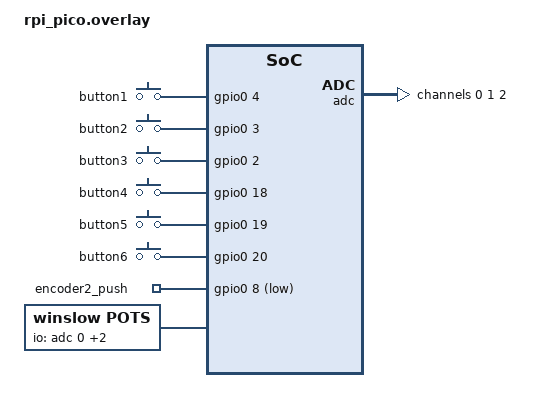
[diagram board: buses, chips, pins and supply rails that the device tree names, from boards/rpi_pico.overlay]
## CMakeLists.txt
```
# SPDX-License-Identifier: Apache-2.0
cmake_minimum_required(VERSION 3.20.0)

# Console/logs over the USB port (/dev/ttyACM0 on the host), since UART0 on
# GP0/GP1 is the link to the PocketBeagle.
set(SNIPPET cdc-acm-console CACHE STRING "")

find_package(Zephyr REQUIRED HINTS $ENV{ZEPHYR_BASE})
project(winslow_pico)

# Collects the inputs and link UART from the devicetree, and reads the ADC.
target_sources(app PRIVATE src/board.c)

rust_cargo_application()
```

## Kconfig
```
mainmenu "Winslow Pico firmware"

config WINSLOW_ENCODER_DEBUG
	bool "Log raw encoder pin activity"
	help
	  Every 250 ms, log each encoder's raw pin changes, invalid
	  transitions (both pins changing between samples) and decoded
	  clicks to the console. For diagnosing wiring; see debug.conf.

source "Kconfig.zephyr"
```

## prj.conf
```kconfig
CONFIG_RUST=y
CONFIG_RUST_ALLOC=y
CONFIG_MAIN_STACK_SIZE=4096

CONFIG_GPIO=y
# UART0 to the PocketBeagle, polled.
CONFIG_SERIAL=y
CONFIG_ADC=y

# Logs go to the console, which the cdc-acm-console snippet puts on USB.
CONFIG_LOG=y
CONFIG_LOG_BACKEND_RTT=n

# Our buttons and encoders are read directly, not through Zephyr's input
# subsystem.
CONFIG_INPUT=n
```

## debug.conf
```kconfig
# Diagnostic build: west build ... -- -DEXTRA_CONF_FILE=debug.conf
CONFIG_WINSLOW_ENCODER_DEBUG=y
```

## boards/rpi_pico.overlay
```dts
/*
 * Winslow input board wiring. Pin numbers are GPn (not physical pins).
 *
 *   GP0  (pin 1)  UART0 TX  -> PocketBeagle P2.05 (UART4 RX)
 *   GP1  (pin 2)  UART0 RX  <- PocketBeagle P2.07 (UART4 TX)
 *   GND           -> PocketBeagle GND
 *
 * Buttons 1-6 switch to 3.3 V (internal pull-downs); the encoders and their
 * push switch switch to ground (internal pull-ups).
 * Pots are wired across ADC_VREF (pin 35) and AGND (pin 33).
 * Logs go to the USB port (cdc-acm-console snippet, see CMakeLists.txt).
 */

#include <zephyr/dt-bindings/gpio/gpio.h>
#include <zephyr/dt-bindings/adc/adc.h>

/ {
	chosen {
		winslow,link-uart = &uart0;
	};

	/* Numbered 0-6 in this order. */
	buttons {
		compatible = "winslow,buttons";

		button1 { gpios = <&gpio0 4 (GPIO_ACTIVE_HIGH | GPIO_PULL_DOWN)>; };
		button2 { gpios = <&gpio0 3 (GPIO_ACTIVE_HIGH | GPIO_PULL_DOWN)>; };
		button3 { gpios = <&gpio0 2 (GPIO_ACTIVE_HIGH | GPIO_PULL_DOWN)>; };
		button4 { gpios = <&gpio0 18 (GPIO_ACTIVE_HIGH | GPIO_PULL_DOWN)>; };
		button5 { gpios = <&gpio0 19 (GPIO_ACTIVE_HIGH | GPIO_PULL_DOWN)>; };
		button6 { gpios = <&gpio0 20 (GPIO_ACTIVE_HIGH | GPIO_PULL_DOWN)>; };
		encoder2_push { gpios = <&gpio0 8 (GPIO_ACTIVE_LOW | GPIO_PULL_UP)>; };
	};

	/* Numbered 0-2. A = CLK, B = DT; swap them to reverse the direction. */
	encoders {
		compatible = "winslow,encoders";

		encoder1 {
			/* Swapped relative to the wire labels: counted backwards. */
			a-gpios = <&gpio0 15 (GPIO_ACTIVE_HIGH | GPIO_PULL_UP)>;
			b-gpios = <&gpio0 14 (GPIO_ACTIVE_HIGH | GPIO_PULL_UP)>;
		};
		encoder2 {
			a-gpios = <&gpio0 9 (GPIO_ACTIVE_HIGH | GPIO_PULL_UP)>;
			b-gpios = <&gpio0 7 (GPIO_ACTIVE_HIGH | GPIO_PULL_UP)>;
		};
		encoder3 {
			a-gpios = <&gpio0 5 (GPIO_ACTIVE_HIGH | GPIO_PULL_UP)>;
			b-gpios = <&gpio0 6 (GPIO_ACTIVE_HIGH | GPIO_PULL_UP)>;
		};
	};

	/* Numbered 0-2: GP26, GP27, GP28. (ADC3/GP29 measures VSYS on the Pico.) */
	pots {
		compatible = "winslow,pots";
		io-channels = <&adc 0>, <&adc 1>, <&adc 2>;
	};
};

&adc {
	#address-cells = <1>;
	#size-cells = <0>;

	channel@0 {
		reg = <0>;
		zephyr,gain = "ADC_GAIN_1";
		zephyr,reference = "ADC_REF_INTERNAL";
		zephyr,acquisition-time = <ADC_ACQ_TIME_DEFAULT>;
		zephyr,resolution = <12>;
	};
	channel@1 {
		reg = <1>;
		zephyr,gain = "ADC_GAIN_1";
		zephyr,reference = "ADC_REF_INTERNAL";
		zephyr,acquisition-time = <ADC_ACQ_TIME_DEFAULT>;
		zephyr,resolution = <12>;
	};
	channel@2 {
		reg = <2>;
		zephyr,gain = "ADC_GAIN_1";
		zephyr,reference = "ADC_REF_INTERNAL";
		zephyr,acquisition-time = <ADC_ACQ_TIME_DEFAULT>;
		zephyr,resolution = <12>;
	};
};
```

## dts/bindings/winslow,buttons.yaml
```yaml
description: |
  Buttons sent to the PocketBeagle. Each child is one button; they are
  numbered in order (0-15) as they appear here.

  Flag each pin so that it reads active when pressed, e.g. a button to
  ground: <&gpio0 16 (GPIO_ACTIVE_LOW | GPIO_PULL_UP)>.

compatible: "winslow,buttons"

child-binding:
  description: One button.
  properties:
    gpios:
      type: phandle-array
      required: true
```

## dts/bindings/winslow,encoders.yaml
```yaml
description: |
  Rotary encoders sent to the PocketBeagle. Each child is one encoder; they
  are numbered in order (0-15) as they appear here. Swap a-gpios and b-gpios
  to reverse the direction. An encoder's push switch is a button.

compatible: "winslow,encoders"

child-binding:
  description: One quadrature encoder.
  properties:
    a-gpios:
      type: phandle-array
      required: true
    b-gpios:
      type: phandle-array
      required: true
    steps-per-detent:
      type: int
      default: 4
      enum: [1, 2, 4]
      description: Quadrature steps per click; 4 for most encoders (EC11).
```

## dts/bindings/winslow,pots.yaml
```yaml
description: |
  Potentiometers sent to the PocketBeagle, numbered (0-15) in the order of
  io-channels. Each referenced ADC channel needs a channel@N node configuring
  it (12-bit resolution assumed).

compatible: "winslow,pots"

properties:
  io-channels:
    type: phandle-array
    required: true
```

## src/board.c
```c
/*
 * Gathers the devicetree's buttons, encoders and link UART into plain arrays
 * the Rust code can use. Devicetree access is all compile-time C macros, so
 * this is the simplest bridge.
 */

#include <zephyr/device.h>
#include <zephyr/drivers/adc.h>
#include <zephyr/devicetree.h>
#include <zephyr/drivers/gpio.h>
#include <zephyr/sys/util.h>

/* Must match `Encoder` in src/board.rs. */
struct winslow_encoder {
	struct gpio_dt_spec a;
	struct gpio_dt_spec b;
	uint32_t steps_per_detent;
};

#define BUTTONS DT_COMPAT_GET_ANY_STATUS_OKAY(winslow_buttons)
#define ENCODERS DT_COMPAT_GET_ANY_STATUS_OKAY(winslow_encoders)

#define BUTTON(node) GPIO_DT_SPEC_GET(node, gpios),
#define ENCODER(node)                                                          \
	{                                                                      \
		.a = GPIO_DT_SPEC_GET(node, a_gpios),                          \
		.b = GPIO_DT_SPEC_GET(node, b_gpios),                          \
		.steps_per_detent = DT_PROP(node, steps_per_detent),           \
	},

#if DT_NODE_EXISTS(BUTTONS)
static const struct gpio_dt_spec buttons[] = {DT_FOREACH_CHILD_STATUS_OKAY(BUTTONS, BUTTON)};
#define BUTTON_COUNT ARRAY_SIZE(buttons)
#else
static const struct gpio_dt_spec buttons[1];
#define BUTTON_COUNT 0
#endif

#if DT_NODE_EXISTS(ENCODERS)
static const struct winslow_encoder encoders[] = {DT_FOREACH_CHILD_STATUS_OKAY(ENCODERS, ENCODER)};
#define ENCODER_COUNT ARRAY_SIZE(encoders)
#else
static const struct winslow_encoder encoders[1];
#define ENCODER_COUNT 0
#endif

#define POTS DT_COMPAT_GET_ANY_STATUS_OKAY(winslow_pots)
#define POT(node, prop, idx) ADC_DT_SPEC_GET_BY_IDX(node, idx),

#if DT_NODE_EXISTS(POTS)
static const struct adc_dt_spec pots[] = {DT_FOREACH_PROP_ELEM(POTS, io_channels, POT)};
#define POT_COUNT ARRAY_SIZE(pots)
#else
static const struct adc_dt_spec pots[1];
#define POT_COUNT 0
#endif

BUILD_ASSERT(POT_COUNT <= 16, "at most 16 pots");
BUILD_ASSERT(BUTTON_COUNT <= 16, "at most 16 buttons");
BUILD_ASSERT(ENCODER_COUNT <= 16, "at most 16 encoders");

const struct gpio_dt_spec *winslow_buttons(size_t *count)
{
	*count = BUTTON_COUNT;
	return buttons;
}

const struct winslow_encoder *winslow_encoders(size_t *count)
{
	*count = ENCODER_COUNT;
	return encoders;
}

const struct device *winslow_link_uart(void)
{
	return DEVICE_DT_GET(DT_CHOSEN(winslow_link_uart));
}

size_t winslow_pot_count(void)
{
	return POT_COUNT;
}

/* Configure every pot's ADC channel. Returns 0 or a negative errno. */
int winslow_pots_init(void)
{
	for (size_t i = 0; i < POT_COUNT; i++) {
		if (!adc_is_ready_dt(&pots[i])) {
			return -ENODEV;
		}
		int err = adc_channel_setup_dt(&pots[i]);
		if (err) {
			return err;
		}
	}
	return 0;
}

/* One conversion of pot `i`: the raw 12-bit value, or a negative errno. */
int winslow_pot_read(size_t i)
{
	if (i >= POT_COUNT) {
		return -EINVAL;
	}
	uint16_t sample;
	struct adc_sequence sequence = {
		.buffer = &sample,
		.buffer_size = sizeof(sample),
	};
	int err = adc_sequence_init_dt(&pots[i], &sequence);
	if (!err) {
		err = adc_read(pots[i].dev, &sequence);
	}
	return err ? err : sample;
}
```
